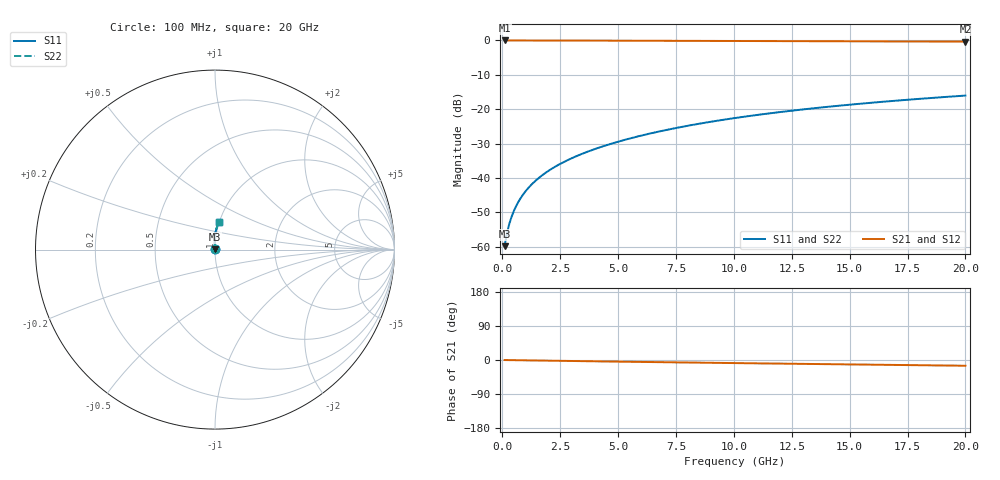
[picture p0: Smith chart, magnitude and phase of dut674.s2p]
! Touchstone file exported from HFSS 2024.1.0
!  File:  C:/UserFiles/LocalFiles/RDL_TSV_Batchsim/temp_RDL_bottom_674_1779786334.aedt
!  Generated:  05:07:39 PM May 26, 2026
!  Design:  RDL_bottom
!  Project:  temp_RDL_bottom_674_1779786334
!  Setup:  Setup1
!  Solution:  Sweep
! Variables:
!  dtsv = 10.80580581um
!  hbump = 3um
!  htsv = 92um
!  ldown = 185.17um
!  lrdl = 100um
!  p = 40
!  p1 = 56.17um
!  rhole = 1um
!  t = 450um
!  tdown = 4.36um
!  trdl = 3.915915916um
!  wdown = 27.54um
!  wrdl = 20um
# GHz S MA R 50.000000
! Terminal data exported
! Port[1] = RDL1_T1
! Port[2] = RDL1_T2
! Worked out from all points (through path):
!   200 points, 100 MHz to 20 GHz, reference 50 ohm
!   highest |S21| = -0.01 dB at 100 MHz (marker M1); lowest = -0.3 dB at 20 GHz (marker M2)
!   group delay of S21, straight-line fit = 2.07 ps
!   lowest |S11| = -59.8 dB at 100 MHz (marker M3), VSWR 1.00, Z = 50.1 + j0.0698 ohm
!   |S11| at or under -10 dB: start of sweep to end of sweep
!   |S22| runs from -59.8 to -16.0 dB; largest |S21 - S12| = 3.5e-15
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0.1  0.00102 43.1  0.9992 -0.1  0.9992 -0.1  0.00102 43.1
! Gamma 0 0 0 0
! Port Impedance 50 0 50 0
0.2  0.001565 59.6  0.9992 -0.2  0.9992 -0.2  0.001565 59.6
0.3  0.002139 67.4  0.9991 -0.3  0.9991 -0.3  0.002139 67.4
0.4  0.002725 72.1  0.9991 -0.4  0.9991 -0.4  0.002725 72.1
0.5  0.00332 75.4  0.999 -0.5  0.999 -0.5  0.00332 75.4
0.6  0.003922 77.7  0.999 -0.5  0.999 -0.5  0.003922 77.7
0.8  0.005144 81.0  0.9988 -0.7  0.9988 -0.7  0.005144 81.0
1.1  0.007008 84.0  0.9986 -1.0  0.9986 -1.0  0.007008 84.0
1.5  0.009532 86.3  0.9983 -1.4  0.9983 -1.4  0.009532 86.3
1.8  0.01145 87.6  0.9979 -1.6  0.9979 -1.6  0.01145 87.6
2.1  0.0134 88.5  0.9975 -1.9  0.9975 -1.9  0.0134 88.5
2.7  0.01737 89.9  0.9966 -2.4  0.9966 -2.4  0.01737 89.9
3.5  0.02284 91.2  0.9952 -3.1  0.9952 -3.1  0.02284 91.2
4.2  0.02781 91.9  0.9937 -3.7  0.9937 -3.7  0.02781 91.9
5  0.0337 92.3  0.992 -4.3  0.992 -4.3  0.0337 92.3
6.8  0.04766 92.4  0.9878 -5.7  0.9878 -5.7  0.04766 92.4
8.4  0.06069 91.7  0.9841 -6.9  0.9841 -6.9  0.06069 91.7
10.1  0.07489 90.5  0.9804 -8.2  0.9804 -8.2  0.07489 90.5
11.7  0.08842 89.1  0.9771 -9.3  0.9771 -9.3  0.08842 89.1
13.4  0.1028 87.6  0.9737 -10.6  0.9737 -10.6  0.1028 87.6
16.7  0.1306 84.5  0.9674 -12.9  0.9674 -12.9  0.1306 84.5
20  0.1578 81.5  0.9611 -15.2  0.9611 -15.2  0.1578 81.5
